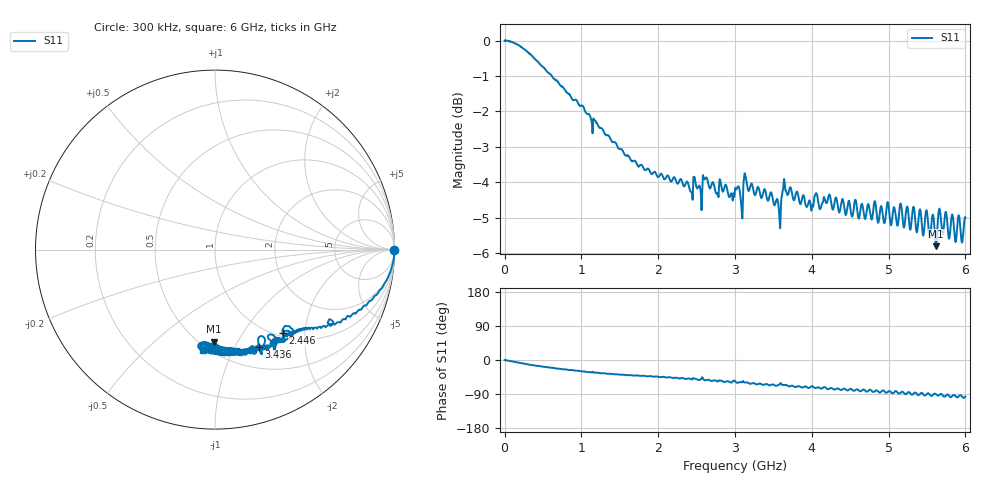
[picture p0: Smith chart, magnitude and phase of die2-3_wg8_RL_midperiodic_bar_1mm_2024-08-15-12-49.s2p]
!Keysight Technologies,P9374A,MY57304198,A.17.20.09
!Date: Thursday, August 15, 2024 12:52:42
!Correction: S11(C  1-Port  )
!S21(C  1-Port  )
!S12(Off)
!S22(Off)
!S2P File: Measurements: S11, S21, S12, S22:
# Hz S  dB  R 50
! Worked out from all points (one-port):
!   6000 points, 300 kHz to 6 GHz, reference 50 ohm
!   lowest |S11| = -5.8 dB at 5.619 GHz (marker M1), VSWR 3.11, Z = 28.9 - j40.2 ohm
!   |S11| at or under -10 dB: nowhere
!   S11 on the Smith chart (normalised r, x): 300 kHz: open; 2.446 GHz: 1.06, -1.54; 3.436 GHz: 0.74, -1.25; 6 GHz: 0.47, -0.77
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300000  -0.00 -0.0  -200.00 45.0  -200.00 45.0  -200.00 45.0
4.163485e8  -0.56 -15.4  -200.00 45.0  -200.00 45.0  -200.00 45.0
1.000417e9  -1.83 -29.9  -200.00 45.0  -200.00 45.0  -200.00 45.0
1.500475e9  -3.06 -38.9  -200.00 45.0  -200.00 45.0  -200.00 45.0
2.000533e9  -3.84 -44.3  -200.00 45.0  -200.00 45.0  -200.00 45.0
2.445585e9  -4.43 -50.9  -200.00 45.0  -200.00 45.0  -200.00 45.0
2.596603e9  -3.91 -52.3  -200.00 45.0  -200.00 45.0  -200.00 45.0
2.940643e9  -4.36 -59.4  -200.00 45.0  -200.00 45.0  -200.00 45.0
3.00065e9  -4.16 -55.4  -200.00 45.0  -200.00 45.0  -200.00 45.0
3.141667e9  -3.86 -59.2  -200.00 45.0  -200.00 45.0  -200.00 45.0
3.435701e9  -4.50 -66.0  -200.00 45.0  -200.00 45.0  -200.00 45.0
3.582718e9  -5.14 -64.2  -200.00 45.0  -200.00 45.0  -200.00 45.0
3.619722e9  -4.24 -66.0  -200.00 45.0  -200.00 45.0  -200.00 45.0
3.868751e9  -4.51 -72.7  -200.00 45.0  -200.00 45.0  -200.00 45.0
4.000767e9  -4.70 -68.4  -200.00 45.0  -200.00 45.0  -200.00 45.0
4.220792e9  -4.37 -76.6  -200.00 45.0  -200.00 45.0  -200.00 45.0
5.000883e9  -4.67 -82.5  -200.00 45.0  -200.00 45.0  -200.00 45.0
5.556948e9  -5.19 -94.9  -200.00 45.0  -200.00 45.0  -200.00 45.0
5.618956e9  -5.79 -90.7  -200.00 45.0  -200.00 45.0  -200.00 45.0
5.663961e9  -4.75 -91.5  -200.00 45.0  -200.00 45.0  -200.00 45.0
5.872985e9  -5.67 -95.7  -200.00 45.0  -200.00 45.0  -200.00 45.0
6e9  -4.98 -96.5  -200.00 45.0  -200.00 45.0  -200.00 45.0
